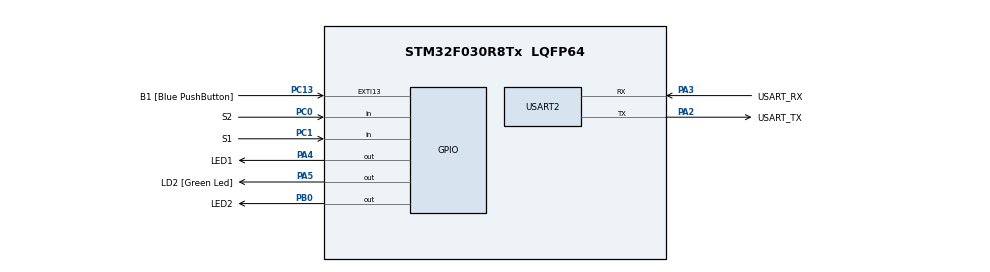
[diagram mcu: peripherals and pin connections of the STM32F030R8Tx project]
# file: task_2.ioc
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Mcu.Family=STM32F0
Mcu.Name=STM32F030R8Tx
Mcu.Package=LQFP64
PA13.GPIO_Label=TMS
PA13.Mode=Serial_Wire
PA13.Signal=SYS_SWDIO
PA14.GPIO_Label=TCK
PA14.Mode=Serial_Wire
PA14.Signal=SYS_SWCLK
PA2.GPIO_Label=USART_TX
PA2.GPIO_Mode=GPIO_MODE_AF_PP
PA2.GPIO_PuPd=GPIO_NOPULL
PA2.GPIO_Speed=GPIO_SPEED_FREQ_LOW
PA2.Mode=Asynchronous
PA2.Signal=USART2_TX
PA3.GPIO_Label=USART_RX
PA3.GPIO_Mode=GPIO_MODE_AF_PP
PA3.GPIO_PuPd=GPIO_NOPULL
PA3.GPIO_Speed=GPIO_SPEED_FREQ_LOW
PA3.Mode=Asynchronous
PA3.Signal=USART2_RX
PA4.GPIO_Label=LED1
PA4.Signal=GPIO_Output
PA5.GPIO_Label=LD2 [Green Led]
PA5.GPIO_Mode=GPIO_MODE_OUTPUT_PP
PA5.GPIO_PuPd=GPIO_NOPULL
PA5.GPIO_Speed=GPIO_SPEED_FREQ_LOW
PA5.Signal=GPIO_Output
PB0.GPIO_Label=LED2
PB0.Signal=GPIO_Output
PC0.GPIO_Label=S2
PC0.GPIO_PuPd=GPIO_PULLUP
PC0.Signal=GPIO_Input
PC1.GPIO_Label=S1
PC1.GPIO_PuPd=GPIO_PULLUP
PC1.Signal=GPIO_Input
PC13.GPIO_Label=B1 [Blue PushButton]
PC13.GPIO_ModeDefaultEXTI=GPIO_MODE_IT_FALLING
PC13.Signal=GPXTI13
PC14-OSC32_IN.Mode=LSE-External-Oscillator
PC14-OSC32_IN.Signal=RCC_OSC32_IN
PC15-OSC32_OUT.Mode=LSE-External-Oscillator
PC15-OSC32_OUT.Signal=RCC_OSC32_OUT
PF0-OSC_IN.Mode=HSE-External-Clock-Source
PF0-OSC_IN.Signal=RCC_OSC_IN
PF1-OSC_OUT.Signal=RCC_OSC_OUT
ProjectManager.HeapSize=0x200
ProjectManager.StackSize=0x400
ProjectManager.TargetToolchain=STM32CubeIDE
RCC.AHBFreq_Value=48000000
RCC.APB1Freq_Value=48000000
RCC.APB1TimFreq_Value=48000000
RCC.HCLKFreq_Value=48000000
RCC.PLLMUL=RCC_PLL_MUL12
RCC.SYSCLKFreq_VALUE=48000000
RCC.SYSCLKSource=RCC_SYSCLKSOURCE_PLLCLK
USART2.VirtualMode-Asynchronous=VM_ASYNC
board=NUCLEO-F030R8

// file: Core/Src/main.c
/* USER CODE BEGIN Header */
/**
 ******************************************************************************
 * @file           : main.c
 * @brief          : Main program body
 ******************************************************************************
 * @attention
 *
 * Copyright (c) 2025 STMicroelectronics.
 * All rights reserved.
 *
 * This software is licensed under terms that can be found in the LICENSE file
 * in the root directory of this software component.
 * If no LICENSE file comes with this software, it is provided AS-IS.
 *
 ******************************************************************************
 */
/* USER CODE END Header */
#include "main.h"

/* USER CODE BEGIN PD */
#define LED_TIME_BLINK 300
#define LED_TIME_SHORT 100
#define LED_TIME_LONG 1000
#define BUTTON_SAMPLE_TIME_40ms 40
#define BUTTON_SAMPLE_TIME_5ms 5
/* USER CODE END PD */

/* USER CODE BEGIN PV */
volatile uint32_t Tick;

/* USER CODE END PV */

void SystemClock_Config(void);
static void MX_GPIO_Init(void);
static void MX_USART2_UART_Init(void);

/* USER CODE BEGIN 0 */
void blink(void)
{
	static uint32_t delay;
	if (Tick > delay + LED_TIME_BLINK) {
		LL_GPIO_TogglePin(LED1_GPIO_Port, LED1_Pin);
		delay = Tick;
	}
}

/*
void button(void)
{
	static uint32_t old_s2;
	static uint32_t old_s1;
	static uint32_t off_time;
	static uint32_t last_sample_time = 0;

	// Check if 40 ms have passed since the last sample
	if (Tick - last_sample_time >= BUTTON_SAMPLE_TIME_40ms) {
		last_sample_time = Tick;  // update the last sample timestamp

		uint32_t new_s2 = LL_GPIO_IsInputPinSet(S2_GPIO_Port, S2_Pin);
		if (old_s2 && !new_s2) { // falling edge
			off_time = Tick + LED_TIME_SHORT;
			LL_GPIO_SetOutputPin(LED2_GPIO_Port, LED2_Pin);
		}
		old_s2 = new_s2;

		uint32_t new_s1 = LL_GPIO_IsInputPinSet(S1_GPIO_Port, S1_Pin);
		if (old_s1 && !new_s1) { // falling edge
			off_time = Tick + LED_TIME_LONG;
			LL_GPIO_SetOutputPin(LED2_GPIO_Port, LED2_Pin);
		}
		old_s1 = new_s1;
	}

	// LED control runs every call (not tied to button sampling)
	if (Tick > off_time) {
		LL_GPIO_ResetOutputPin(LED2_GPIO_Port, LED2_Pin);
	}
}
 */

void button(void)
{

	static uint32_t off_time;
	static uint32_t last_sample_time_s2 = 0;
	static uint32_t last_sample_time_s1 = 0;

	if (Tick - last_sample_time_s2 >= BUTTON_SAMPLE_TIME_40ms) {
		static uint32_t old_s2;
		last_sample_time_s2 = Tick;

		uint32_t new_s2 = LL_GPIO_IsInputPinSet(S2_GPIO_Port, S2_Pin);
		if (old_s2 && !new_s2) { // falling edge
			off_time = Tick + LED_TIME_SHORT;
			LL_GPIO_SetOutputPin(LED2_GPIO_Port, LED2_Pin);
		}
		old_s2 = new_s2;
	}

	if (Tick - last_sample_time_s1 >= BUTTON_SAMPLE_TIME_5ms) {
		static uint16_t debounce = 0xFFFF;

		last_sample_time_s1 = Tick;

		uint32_t new_s1 = LL_GPIO_IsInputPinSet(S1_GPIO_Port, S1_Pin);

		debounce = debounce << 1;

		if (new_s1) {
			debounce |= 0x0001;
		}

		if (debounce == 0x7FFF) {
			off_time = Tick + LED_TIME_LONG;
			LL_GPIO_SetOutputPin(LED2_GPIO_Port, LED2_Pin);
		}
	}

	if (Tick > off_time) {
		LL_GPIO_ResetOutputPin(LED2_GPIO_Port, LED2_Pin);
	}
}

/* USER CODE END 0 */

int main(void)
{

	/* MCU Configuration--------------------------------------------------------*/

	/* Reset of all peripherals, Initializes the Flash interface and the Systick. */
	LL_APB1_GRP2_EnableClock(LL_APB1_GRP2_PERIPH_SYSCFG);
	LL_APB1_GRP1_EnableClock(LL_APB1_GRP1_PERIPH_PWR);

	/* Configure the system clock */
	SystemClock_Config();

	/* Initialize all configured peripherals */
	MX_GPIO_Init();
	MX_USART2_UART_Init();
	/* USER CODE BEGIN 2 */
	LL_SYSTICK_EnableIT();

	/* USER CODE END 2 */

	/* Infinite loop */
	/* USER CODE BEGIN WHILE */
	while (1)
	{
		blink();
		button();

		/* USER CODE END WHILE */

	}
}

void SystemClock_Config(void)
{
	LL_FLASH_SetLatency(LL_FLASH_LATENCY_1);
	while(LL_FLASH_GetLatency() != LL_FLASH_LATENCY_1)
	{
	}
	LL_RCC_HSI_Enable();

	/* Wait till HSI is ready */
	while(LL_RCC_HSI_IsReady() != 1)
	{

	}
	LL_RCC_HSI_SetCalibTrimming(16);
	LL_RCC_PLL_ConfigDomain_SYS(LL_RCC_PLLSOURCE_HSI_DIV_2, LL_RCC_PLL_MUL_12);
	LL_RCC_PLL_Enable();

	/* Wait till PLL is ready */
	while(LL_RCC_PLL_IsReady() != 1)
	{

	}
	LL_RCC_SetAHBPrescaler(LL_RCC_SYSCLK_DIV_1);
	LL_RCC_SetAPB1Prescaler(LL_RCC_APB1_DIV_1);
	LL_RCC_SetSysClkSource(LL_RCC_SYS_CLKSOURCE_PLL);

	/* Wait till System clock is ready */
	while(LL_RCC_GetSysClkSource() != LL_RCC_SYS_CLKSOURCE_STATUS_PLL)
	{

	}
	LL_Init1msTick(48000000);
	LL_SetSystemCoreClock(48000000);
}

static void MX_USART2_UART_Init(void)
{

	LL_USART_InitTypeDef USART_InitStruct = {0};

	LL_GPIO_InitTypeDef GPIO_InitStruct = {0};

	/* Peripheral clock enable */
	LL_APB1_GRP1_EnableClock(LL_APB1_GRP1_PERIPH_USART2);

	LL_AHB1_GRP1_EnableClock(LL_AHB1_GRP1_PERIPH_GPIOA);
	/**USART2 GPIO Configuration
  PA2   ------> USART2_TX
  PA3   ------> USART2_RX
	 */
	GPIO_InitStruct.Pin = USART_TX_Pin;
	GPIO_InitStruct.Mode = LL_GPIO_MODE_ALTERNATE;
	GPIO_InitStruct.Speed = LL_GPIO_SPEED_FREQ_LOW;
	GPIO_InitStruct.OutputType = LL_GPIO_OUTPUT_PUSHPULL;
	GPIO_InitStruct.Pull = LL_GPIO_PULL_NO;
	GPIO_InitStruct.Alternate = LL_GPIO_AF_1;
	LL_GPIO_Init(USART_TX_GPIO_Port, &GPIO_InitStruct);

	GPIO_InitStruct.Pin = USART_RX_Pin;
	GPIO_InitStruct.Mode = LL_GPIO_MODE_ALTERNATE;
	GPIO_InitStruct.Speed = LL_GPIO_SPEED_FREQ_LOW;
	GPIO_InitStruct.OutputType = LL_GPIO_OUTPUT_PUSHPULL;
	GPIO_InitStruct.Pull = LL_GPIO_PULL_NO;
	GPIO_InitStruct.Alternate = LL_GPIO_AF_1;
	LL_GPIO_Init(USART_RX_GPIO_Port, &GPIO_InitStruct);

	USART_InitStruct.BaudRate = 38400;
	USART_InitStruct.DataWidth = LL_USART_DATAWIDTH_8B;
	USART_InitStruct.StopBits = LL_USART_STOPBITS_1;
	USART_InitStruct.Parity = LL_USART_PARITY_NONE;
	USART_InitStruct.TransferDirection = LL_USART_DIRECTION_TX_RX;
	USART_InitStruct.HardwareFlowControl = LL_USART_HWCONTROL_NONE;
	USART_InitStruct.OverSampling = LL_USART_OVERSAMPLING_16;
	LL_USART_Init(USART2, &USART_InitStruct);
	LL_USART_DisableIT_CTS(USART2);
	LL_USART_ConfigAsyncMode(USART2);
	LL_USART_Enable(USART2);

}

static void MX_GPIO_Init(void)
{
	LL_EXTI_InitTypeDef EXTI_InitStruct = {0};
	LL_GPIO_InitTypeDef GPIO_InitStruct = {0};

	/* GPIO Ports Clock Enable */
	LL_AHB1_GRP1_EnableClock(LL_AHB1_GRP1_PERIPH_GPIOC);
	LL_AHB1_GRP1_EnableClock(LL_AHB1_GRP1_PERIPH_GPIOF);
	LL_AHB1_GRP1_EnableClock(LL_AHB1_GRP1_PERIPH_GPIOA);
	LL_AHB1_GRP1_EnableClock(LL_AHB1_GRP1_PERIPH_GPIOB);

	/**/
	LL_GPIO_ResetOutputPin(LED1_GPIO_Port, LED1_Pin);

	/**/
	LL_GPIO_ResetOutputPin(LD2_GPIO_Port, LD2_Pin);

	/**/
	LL_GPIO_ResetOutputPin(LED2_GPIO_Port, LED2_Pin);

	/**/
	LL_SYSCFG_SetEXTISource(LL_SYSCFG_EXTI_PORTC, LL_SYSCFG_EXTI_LINE13);

	/**/
	LL_GPIO_SetPinPull(B1_GPIO_Port, B1_Pin, LL_GPIO_PULL_NO);

	/**/
	LL_GPIO_SetPinMode(B1_GPIO_Port, B1_Pin, LL_GPIO_MODE_INPUT);

	/**/
	EXTI_InitStruct.Line_0_31 = LL_EXTI_LINE_13;
	EXTI_InitStruct.LineCommand = ENABLE;
	EXTI_InitStruct.Mode = LL_EXTI_MODE_IT;
	EXTI_InitStruct.Trigger = LL_EXTI_TRIGGER_FALLING;
	LL_EXTI_Init(&EXTI_InitStruct);

	/**/
	GPIO_InitStruct.Pin = S2_Pin;
	GPIO_InitStruct.Mode = LL_GPIO_MODE_INPUT;
	GPIO_InitStruct.Pull = LL_GPIO_PULL_UP;
	LL_GPIO_Init(S2_GPIO_Port, &GPIO_InitStruct);

	/**/
	GPIO_InitStruct.Pin = S1_Pin;
	GPIO_InitStruct.Mode = LL_GPIO_MODE_INPUT;
	GPIO_InitStruct.Pull = LL_GPIO_PULL_UP;
	LL_GPIO_Init(S1_GPIO_Port, &GPIO_InitStruct);

	/**/
	GPIO_InitStruct.Pin = LED1_Pin;
	GPIO_InitStruct.Mode = LL_GPIO_MODE_OUTPUT;
	GPIO_InitStruct.Speed = LL_GPIO_SPEED_FREQ_LOW;
	GPIO_InitStruct.OutputType = LL_GPIO_OUTPUT_PUSHPULL;
	GPIO_InitStruct.Pull = LL_GPIO_PULL_NO;
	LL_GPIO_Init(LED1_GPIO_Port, &GPIO_InitStruct);

	/**/
	GPIO_InitStruct.Pin = LD2_Pin;
	GPIO_InitStruct.Mode = LL_GPIO_MODE_OUTPUT;
	GPIO_InitStruct.Speed = LL_GPIO_SPEED_FREQ_LOW;
	GPIO_InitStruct.OutputType = LL_GPIO_OUTPUT_PUSHPULL;
	GPIO_InitStruct.Pull = LL_GPIO_PULL_NO;
	LL_GPIO_Init(LD2_GPIO_Port, &GPIO_InitStruct);

	/**/
	GPIO_InitStruct.Pin = LED2_Pin;
	GPIO_InitStruct.Mode = LL_GPIO_MODE_OUTPUT;
	GPIO_InitStruct.Speed = LL_GPIO_SPEED_FREQ_LOW;
	GPIO_InitStruct.OutputType = LL_GPIO_OUTPUT_PUSHPULL;
	GPIO_InitStruct.Pull = LL_GPIO_PULL_NO;
	LL_GPIO_Init(LED2_GPIO_Port, &GPIO_InitStruct);

}

void Error_Handler(void)
{
	__disable_irq();
	while (1)
	{
	}
}
